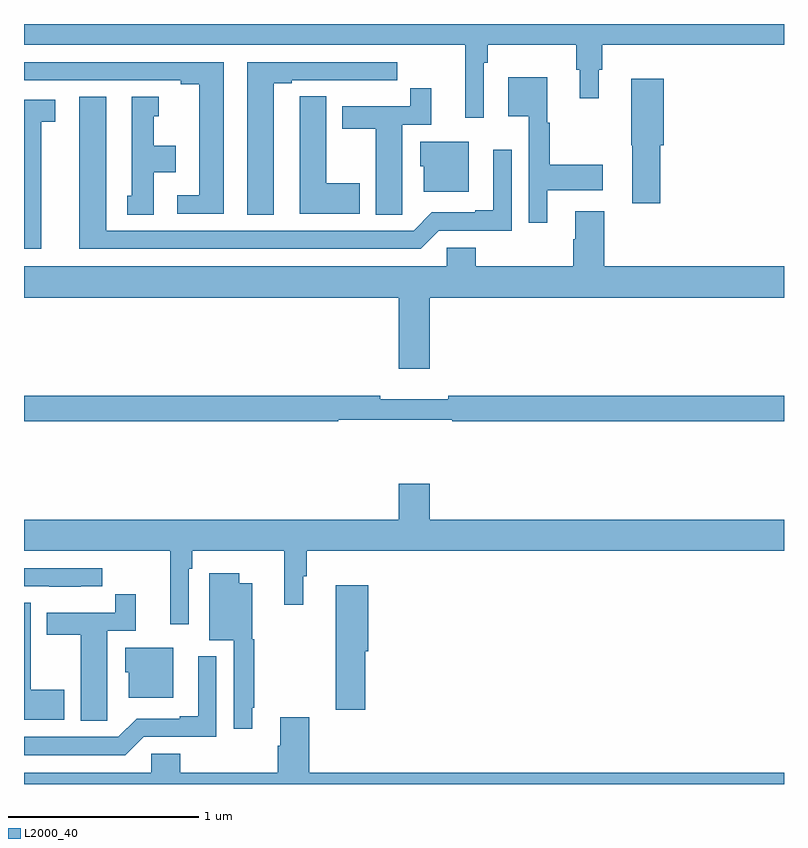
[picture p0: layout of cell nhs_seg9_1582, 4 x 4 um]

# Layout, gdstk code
import gdstk
lib = gdstk.Library(unit=1e-6, precision=1e-09)
def P(c, l, *ps):  # polygons
    for p in ps: c.add(gdstk.Polygon(p, *l))
L2000_40 = (2000, 40)

nhs_seg9_1582 = lib.new_cell('nhs_seg9_1582')
P(nhs_seg9_1582, L2000_40, [(201.42,1224.296),(201.44,1224.296),(201.44,1224.392),(201.907,1224.392),(201.907,1224.258),(201.926,1224.258),(201.926,1224.108),(202.024,1224.108),(202.024,1224.258),(202.043,1224.258),(202.043,1224.392),(203,1224.392),(203,1224.5),(199,1224.5),(199,1224.392),(201.323,1224.392),(201.323,1224.006),(201.42,1224.006)],
  [(200.05,1224.3),(199,1224.3),(199,1224.204),(199.826,1224.204),(199.826,1224.184),(199.922,1224.184),(199.922,1223.598),(199.806,1223.598),(199.806,1223.502),(200.05,1223.502)],
  [(200.314,1224.189),(200.41,1224.189),(200.41,1224.204),(200.686,1224.204),(200.686,1224.203),(200.852,1224.203),(200.852,1224.204),(200.965,1224.204),(200.965,1224.3),(200.174,1224.3),(200.174,1223.497),(200.314,1223.497)],
  [(201.754,1223.624),(202.045,1223.624),(202.045,1223.759),(201.766,1223.759),(201.766,1223.979),(201.754,1223.979),(201.754,1224.22),(201.548,1224.22),(201.548,1224.014),(201.657,1224.014),(201.657,1223.454),(201.754,1223.454)],
  [(202.349,1223.862),(202.367,1223.862),(202.367,1224.211),(202.196,1224.211),(202.196,1223.862),(202.202,1223.862),(202.202,1223.556),(202.349,1223.556)],
  [(200.991,1223.608),(200.992,1223.608),(200.992,1223.97),(201.143,1223.97),(201.143,1224.163),(201.034,1224.163),(201.034,1224.066),(200.675,1224.066),(200.675,1223.95),(200.852,1223.95),(200.852,1223.497),(200.991,1223.497)],
  [(200.767,1223.661),(200.59,1223.661),(200.59,1224.119),(200.451,1224.119),(200.451,1224.011),(200.45,1224.011),(200.45,1223.501),(200.767,1223.501)],
  [(199.684,1223.72),(199.798,1223.72),(199.798,1223.86),(199.684,1223.86),(199.684,1224.015),(199.708,1224.015),(199.708,1224.118),(199.568,1224.118),(199.568,1223.595),(199.544,1223.595),(199.544,1223.497),(199.684,1223.497)],
  [(201.183,1223.412),(201.567,1223.412),(201.567,1223.839),(201.47,1223.839),(201.47,1223.521),(201.374,1223.521),(201.374,1223.508),(201.147,1223.508),(201.051,1223.412),(199.432,1223.412),(199.432,1224.118),(199.292,1224.118),(199.292,1223.316),(201.087,1223.316)],
  [(199.09,1223.986),(199.165,1223.986),(199.165,1224.102),(199,1224.102),(199,1223.316),(199.09,1223.316)],
  [(201.34,1223.881),(201.086,1223.881),(201.086,1223.751),(201.104,1223.751),(201.104,1223.618),(201.34,1223.618)],
  [(201.136,1223.06),(203,1223.06),(203,1223.224),(202.055,1223.224),(202.055,1223.515),(201.902,1223.515),(201.902,1223.366),(201.89,1223.366),(201.89,1223.224),(201.377,1223.224),(201.377,1223.322),(201.225,1223.322),(201.225,1223.224),(199,1223.224),(199,1223.06),(200.972,1223.06),(200.972,1222.686),(201.136,1222.686)],
  [(200.655,1222.416),(201.255,1222.416),(201.255,1222.408),(203,1222.408),(203,1222.544),(201.232,1222.544),(201.232,1222.525),(200.876,1222.525),(200.876,1222.544),(199,1222.544),(199,1222.408),(200.655,1222.408)],
  [(199.866,1221.632),(199.886,1221.632),(199.886,1221.728),(200.371,1221.728),(200.371,1221.444),(200.47,1221.444),(200.47,1221.594),(200.489,1221.594),(200.489,1221.728),(203,1221.728),(203,1221.892),(201.136,1221.892),(201.136,1222.081),(200.972,1222.081),(200.972,1221.892),(199,1221.892),(199,1221.728),(199.769,1221.728),(199.769,1221.342),(199.866,1221.342)],
  [(199.298,1221.54),(199.411,1221.54),(199.411,1221.636),(199,1221.636),(199,1221.54),(199.132,1221.54),(199.132,1221.539),(199.298,1221.539)],
  [(200.2,1220.902),(200.212,1220.902),(200.212,1221.261),(200.2,1221.261),(200.2,1221.556),(200.134,1221.556),(200.134,1221.61),(199.976,1221.61),(199.976,1221.257),(200.103,1221.257),(200.103,1220.79),(200.2,1220.79)],
  [(200.795,1221.198),(200.813,1221.198),(200.813,1221.547),(200.642,1221.547),(200.642,1221.198),(200.641,1221.198),(200.641,1220.892),(200.795,1220.892)],
  [(199.437,1220.944),(199.438,1220.944),(199.438,1221.306),(199.589,1221.306),(199.589,1221.499),(199.48,1221.499),(199.48,1221.402),(199.121,1221.402),(199.121,1221.286),(199.298,1221.286),(199.298,1220.833),(199.437,1220.833)],
  [(199.213,1220.997),(199.036,1220.997),(199.036,1221.455),(199,1221.455),(199,1220.837),(199.213,1220.837)],
  [(199.786,1221.217),(199.532,1221.217),(199.532,1221.087),(199.55,1221.087),(199.55,1220.954),(199.786,1220.954)],
  [(199.629,1220.748),(200.013,1220.748),(200.013,1221.172),(199.916,1221.172),(199.916,1220.857),(199.82,1220.857),(199.82,1220.844),(199.593,1220.844),(199.497,1220.748),(199,1220.748),(199,1220.652),(199.533,1220.652)],
  [(203,1220.56),(200.501,1220.56),(200.501,1220.851),(200.348,1220.851),(200.348,1220.702),(200.336,1220.702),(200.336,1220.56),(199.823,1220.56),(199.823,1220.658),(199.671,1220.658),(199.671,1220.56),(199,1220.56),(199,1220.5),(203,1220.5)])

lib.write_gds('nhs_seg9_1582.gds')
